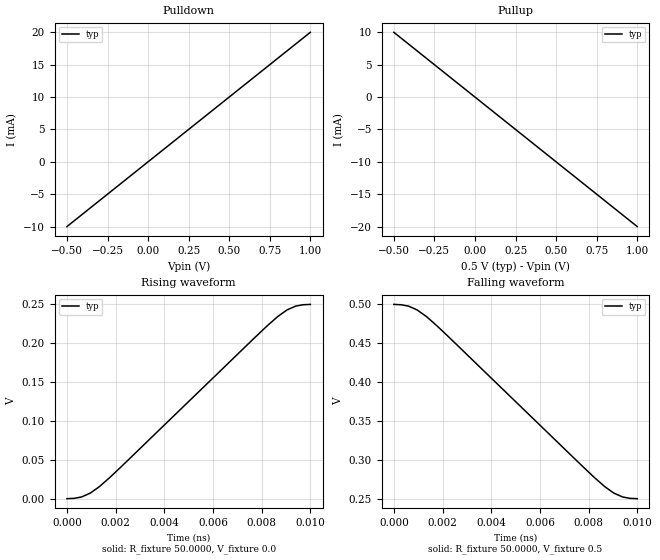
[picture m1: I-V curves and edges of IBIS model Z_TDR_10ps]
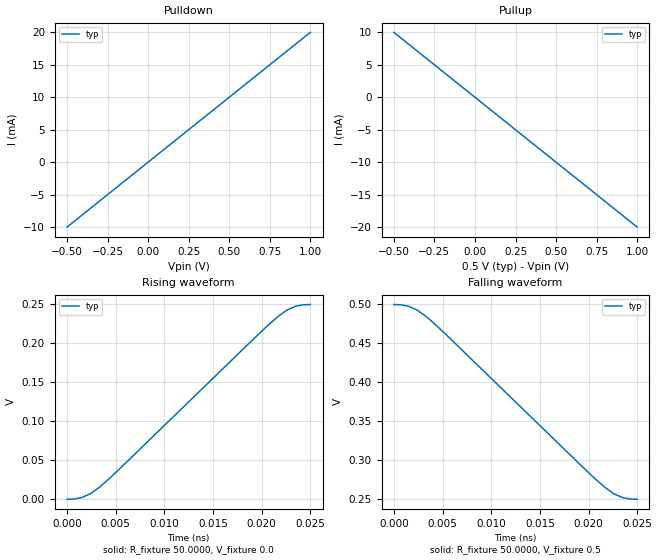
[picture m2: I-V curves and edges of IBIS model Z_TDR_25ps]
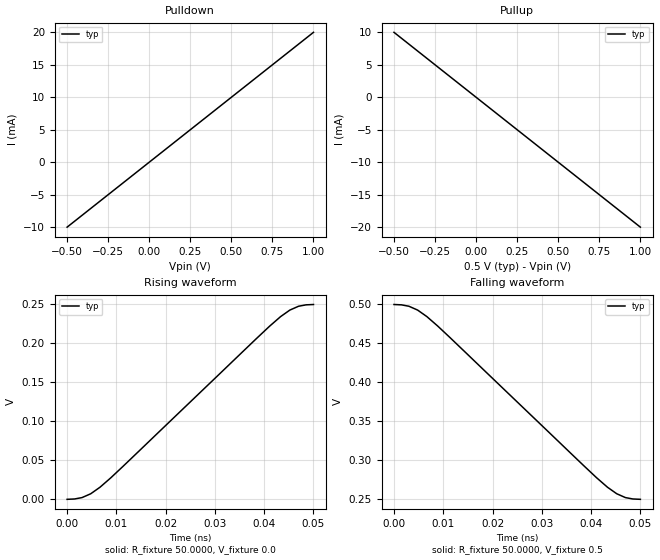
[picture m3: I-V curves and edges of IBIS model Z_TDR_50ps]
[IBIS Ver]   2.1
[File Name]   zuken_tdr.ibs
[File Rev]   1.3
[Date]   2018-05-11
[Source]   Zuken GmbH
   EMC Technology Center
   Am Hoppenhof 32a
   D-33104 Paderborn, Germany
[Notes]   handcrafted for test purposes;
   timing information in model name indicates
   the 0-100 % rise/fall times of the waveforms;
   rev 1.1: Vmeas changed from 0.25 V to 0.125 V;
   rev 1.2: cmp/mdl-names changed from ztdr* to Z_TDR*;
   rev 1.3: added 10 ps model;
[Component]   Z_TEST_TDR
[Manufacturer]   Zuken
[Package]
|   typ   min   max
R_pkg   0.0   NA   NA
L_pkg   0.0   NA   NA
C_pkg   0.0   NA   NA
[Pin]   signal_name   model_name
1   tdr10   Z_TDR_10ps
2   tdr25   Z_TDR_25ps
3   tdr50   Z_TDR_50ps
4   tdr75   Z_TDR_75ps
5   tdr100   Z_TDR_100ps
6   tdr200   Z_TDR_200ps
7   tdr500   Z_TDR_500ps
8   tdr1000   Z_TDR_1000ps
| Models and submodels in the file (8): Z_TDR_10ps (Output), Z_TDR_25ps (Output), Z_TDR_50ps (Output), Z_TDR_75ps (Output), Z_TDR_100ps (Output), Z_TDR_200ps (Output), Z_TDR_500ps (Output), Z_TDR_1000ps (Output)
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|   Model Z_TDR_10ps  OUTPUT
[Model]   Z_TDR_10ps
Model_type  Output
Polarity   Non-Inverting
Vmeas =0.125V
Vref =0V
Rref =50
Cref =0pF
| variable   typ   min   max
C_comp   0.0   NA   NA
[Temperature Range]   50   NA   NA
[Voltage range]   0.5   NA   NA
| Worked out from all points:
|   slope of the pulldown table from 0 to 0.075 V, typ, clamps not added: 50 ohm
|   slope of the pullup table from 0 to 0.075 V, typ, clamps not added: 50 ohm
|   rising waveform, R_fixture 50.0000, V_fixture 0.0: 20-80 % time 4.95ps typ, NA min, NA max; typ from 0 V to 0.25 V
|   falling waveform, R_fixture 50.0000, V_fixture 0.5: 20-80 % time 4.95ps typ, NA min, NA max; typ from 0.5 V to 0.25 V
[Pullup]
|   Voltage   I(typ)   I(min)   I(max)
-500mV    10mA       NA         NA
1V        -20mA      NA         NA
[Pulldown]
|   Voltage   I(typ)   I(min)   I(max)
-500mV    -10mA      NA         NA
1V        20mA       NA         NA
[GND Clamp]
|   Voltage   I(typ)   I(min)   I(max)
-500mV    0A         NA         NA
1V        0A         NA         NA
[POWER Clamp]
|   Voltage   I(typ)   I(min)   I(max)
-500mV    0A         NA         NA
1V        0A         NA         NA
[ramp]
| variable   typ   min   max
dV/dt_r   0.15/6ps   NA   NA
dV/dt_f   0.15/6ps   NA   NA
[Rising Waveform]
R_fixture=   50.0000
V_fixture=   0.0
V_fixture_min=  0.0
V_fixture_max=  0.0
|time   V(typ)   V(min)   V(max)
0s        0V         NA         NA
605.9fs   2.234mV    NA         NA
960.2fs   7.173mV    NA         NA
1.335ps   15.52mV    NA         NA
2.281ps   42.66mV    NA         NA
7.719ps   207.3mV    NA         NA
8.665ps   234.5mV    NA         NA
9.04ps    242.8mV    NA         NA
9.394ps   247.8mV    NA         NA
10ps      250mV      NA         NA
[Falling Waveform]
R_fixture=   50.0000
V_fixture=   0.5
V_fixture_min=  0.5
V_fixture_max=  0.5
|time   V(typ)   V(min)   V(max)
0s        500mV      NA         NA
605.9fs   497.8mV    NA         NA
960.2fs   492.8mV    NA         NA
1.335ps   484.5mV    NA         NA
2.281ps   457.3mV    NA         NA
7.719ps   292.7mV    NA         NA
8.665ps   265.5mV    NA         NA
9.04ps    257.2mV    NA         NA
9.394ps   252.2mV    NA         NA
10ps      250mV      NA         NA
|   Model Z_TDR_25ps  OUTPUT
[Model]   Z_TDR_25ps
Model_type  Output
Polarity   Non-Inverting
Vmeas =0.125V
Vref =0V
Rref =50
Cref =0pF
| variable   typ   min   max
C_comp   0.0   NA   NA
[Temperature Range]   50   NA   NA
[Voltage range]   0.5   NA   NA
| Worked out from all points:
|   slope of the pulldown table from 0 to 0.075 V, typ, clamps not added: 50 ohm
|   slope of the pullup table from 0 to 0.075 V, typ, clamps not added: 50 ohm
|   rising waveform, R_fixture 50.0000, V_fixture 0.0: 20-80 % time 12.4ps typ, NA min, NA max; typ from 0 V to 0.25 V
|   falling waveform, R_fixture 50.0000, V_fixture 0.5: 20-80 % time 12.4ps typ, NA min, NA max; typ from 0.5 V to 0.25 V
[Pullup]
|   Voltage   I(typ)   I(min)   I(max)
-500mV    10mA       NA         NA
1V        -20mA      NA         NA
[Pulldown]
|   Voltage   I(typ)   I(min)   I(max)
-500mV    -10mA      NA         NA
1V        20mA       NA         NA
[GND Clamp]
|   Voltage   I(typ)   I(min)   I(max)
-500mV    0A         NA         NA
1V        0A         NA         NA
[POWER Clamp]
|   Voltage   I(typ)   I(min)   I(max)
-500mV    0A         NA         NA
1V        0A         NA         NA
[ramp]
| variable   typ   min   max
dV/dt_r   0.15/15ps   NA   NA
dV/dt_f   0.15/15ps   NA   NA
[Rising Waveform]
R_fixture=   50.0000
V_fixture=   0.0
V_fixture_min=  0.0
V_fixture_max=  0.0
|time   V(typ)   V(min)   V(max)
0s        0V         NA         NA
1.515ps   2.234mV    NA         NA
2.4ps     7.173mV    NA         NA
3.337ps   15.52mV    NA         NA
5.702ps   42.66mV    NA         NA
19.3ps    207.3mV    NA         NA
21.66ps   234.5mV    NA         NA
22.6ps    242.8mV    NA         NA
23.49ps   247.8mV    NA         NA
25ps      250mV      NA         NA
[Falling Waveform]
R_fixture=   50.0000
V_fixture=   0.5
V_fixture_min=  0.5
V_fixture_max=  0.5
|time   V(typ)   V(min)   V(max)
0s        500mV      NA         NA
1.515ps   497.8mV    NA         NA
2.4ps     492.8mV    NA         NA
3.337ps   484.5mV    NA         NA
5.702ps   457.3mV    NA         NA
19.3ps    292.7mV    NA         NA
21.66ps   265.5mV    NA         NA
22.6ps    257.2mV    NA         NA
23.49ps   252.2mV    NA         NA
25ps      250mV      NA         NA
|   Model Z_TDR_50ps  OUTPUT
[Model]   Z_TDR_50ps
Model_type  Output
Polarity   Non-Inverting
Vmeas =0.125V
Vref =0V
Rref =50
Cref =0pF
| variable   typ   min   max
C_comp   0.0   NA   NA
[Temperature Range]   50   NA   NA
[Voltage range]   0.5   NA   NA
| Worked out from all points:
|   slope of the pulldown table from 0 to 0.075 V, typ, clamps not added: 50 ohm
|   slope of the pullup table from 0 to 0.075 V, typ, clamps not added: 50 ohm
|   rising waveform, R_fixture 50.0000, V_fixture 0.0: 20-80 % time 24.8ps typ, NA min, NA max; typ from 0 V to 0.25 V
|   falling waveform, R_fixture 50.0000, V_fixture 0.5: 20-80 % time 24.8ps typ, NA min, NA max; typ from 0.5 V to 0.25 V
[Pullup]
|   Voltage   I(typ)   I(min)   I(max)
-500mV    10mA       NA         NA
1V        -20mA      NA         NA
[Pulldown]
|   Voltage   I(typ)   I(min)   I(max)
-500mV    -10mA      NA         NA
1V        20mA       NA         NA
[GND Clamp]
|   Voltage   I(typ)   I(min)   I(max)
-500mV    0A         NA         NA
1V        0A         NA         NA
[POWER Clamp]
|   Voltage   I(typ)   I(min)   I(max)
-500mV    0A         NA         NA
1V        0A         NA         NA
[ramp]
| variable   typ   min   max
dV/dt_r   0.15/30ps   NA   NA
dV/dt_f   0.15/30ps   NA   NA
[Rising Waveform]
R_fixture=   50.0000
V_fixture=   0.0
V_fixture_min=  0.0
V_fixture_max=  0.0
|time   V(typ)   V(min)   V(max)
0s        0V         NA         NA
3.029ps   2.234mV    NA         NA
4.801ps   7.173mV    NA         NA
6.673ps   15.52mV    NA         NA
11.4ps    42.66mV    NA         NA
38.6ps    207.3mV    NA         NA
43.33ps   234.5mV    NA         NA
45.2ps    242.8mV    NA         NA
46.97ps   247.8mV    NA         NA
50ps      250mV      NA         NA
[Falling Waveform]
R_fixture=   50.0000
V_fixture=   0.5
V_fixture_min=  0.5
V_fixture_max=  0.5
|time   V(typ)   V(min)   V(max)
0s        500mV      NA         NA
3.029ps   497.8mV    NA         NA
4.801ps   492.8mV    NA         NA
6.673ps   484.5mV    NA         NA
11.4ps    457.3mV    NA         NA
38.6ps    292.7mV    NA         NA
43.33ps   265.5mV    NA         NA
45.2ps    257.2mV    NA         NA
46.97ps   252.2mV    NA         NA
50ps      250mV      NA         NA
